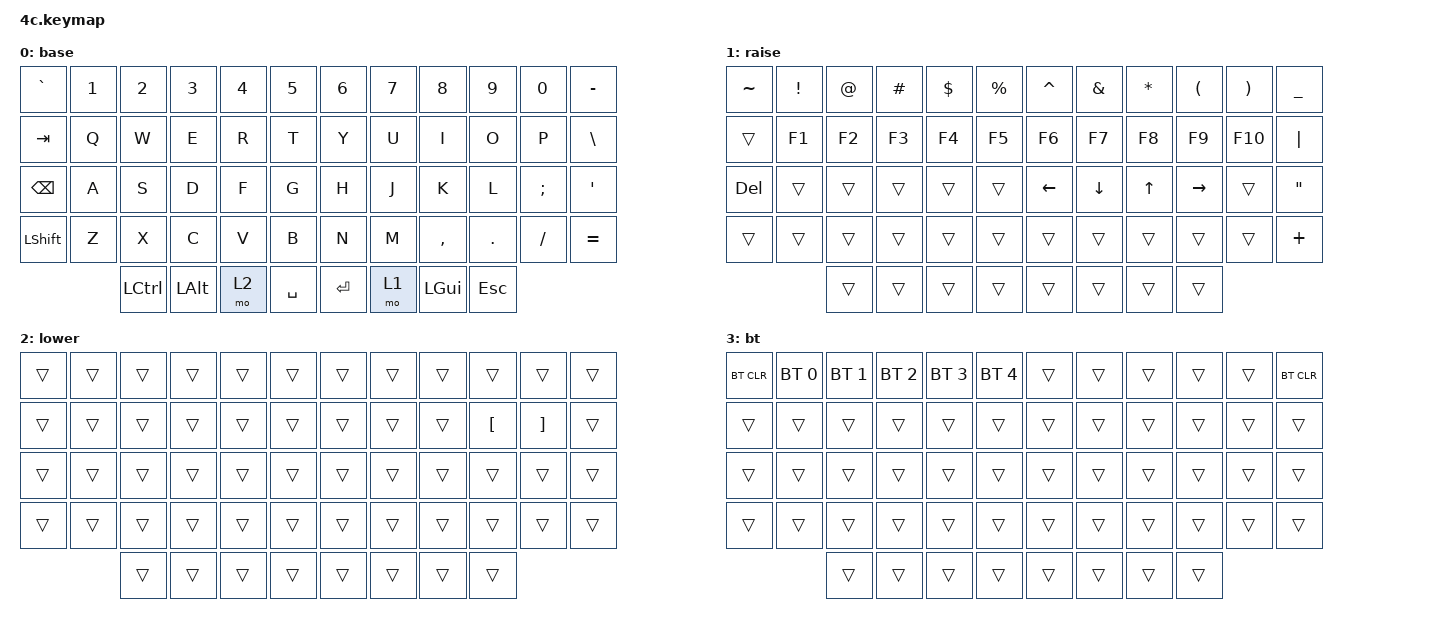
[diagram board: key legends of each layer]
/*
 * Copyright (c) 2020 The ZMK Contributors
 *
 * SPDX-License-Identifier: MIT
 */

#include <behaviors.dtsi>
#include <dt-bindings/zmk/keys.h>
#include <dt-bindings/zmk/bt.h>

/ {
    combos {
        compatible = "zmk,combos";

        bluetooth {
            bindings = <&mo 3>;
            key-positions = <36 37>; // Changed to more accessible keys (space + enter)
        };

        bt_clear {
            bindings = <&bt BT_CLR>;
            key-positions = <0 11>; // Top left and top right keys for emergency BT clear
        };
    };

    macros {
        code_fence: code_fence {
            compatible = "zmk,behavior-macro";
            #binding-cells = <0>;
            bindings = <&kp GRAVE &kp GRAVE &kp GRAVE>;
        };

        alt_f4: alt_f4 {
            compatible = "zmk,behavior-macro";
            #binding-cells = <0>;
            bindings = <&kp LALT &kp F4>;
        };
    };

    keymap {
        compatible = "zmk,keymap";

        base {
            display-name = "base";
            bindings = <
    &kp GRAVE  &kp N1    &kp N2    &kp N3    &kp N4    &kp N5       &kp N6    &kp N7    &kp N8     &kp N9    &kp N0    &kp MINUS
    &kp TAB    &kp Q     &kp W     &kp E     &kp R     &kp T        &kp Y     &kp U     &kp I      &kp O     &kp P     &kp BSLH
    &kp BSPC   &kp A     &kp S     &kp D     &kp F     &kp G        &kp H     &kp J     &kp K      &kp L     &kp SEMI  &kp SQT
    &kp LSHFT  &kp Z     &kp X     &kp C     &kp V     &kp B        &kp N     &kp M     &kp COMMA  &kp DOT   &kp FSLH  &kp EQUAL
                         &kp LCTRL &kp LALT  &mo 2     &kp SPACE    &kp RET   &mo 1     &kp LGUI   &kp ESC
            >;
        };

        raise {
            display-name = "raise";
            bindings = <
    &kp TILDE  &kp EXCL  &kp AT    &kp HASH  &kp DLLR  &kp PRCNT    &kp CARET &kp AMPS  &kp ASTRK  &kp LPAR  &kp RPAR  &kp UNDER
    &trans     &kp F1    &kp F2    &kp F3    &kp F4    &kp F5       &kp F6    &kp F7    &kp F8     &kp F9    &kp F10   &kp PIPE
    &kp DEL    &trans    &trans    &trans    &trans    &trans       &kp LEFT  &kp DOWN  &kp UP     &kp RIGHT &trans    &kp DQT
    &trans     &trans    &trans    &trans    &trans    &trans       &trans    &trans    &trans     &trans    &trans    &kp PLUS
                         &trans    &trans    &trans    &trans       &trans    &trans    &trans     &trans
            >;
        };

        lower {
            display-name = "lower";
            bindings = <
    &trans     &trans    &trans    &trans    &trans    &trans       &trans    &trans    &trans     &trans    &trans    &trans
    &trans     &trans    &trans    &trans    &trans    &trans       &trans    &trans    &trans     &kp LBKT  &kp RBKT  &trans
    &trans     &trans    &trans    &trans    &trans    &trans       &trans    &trans    &trans     &trans    &trans    &trans
    &trans     &trans    &trans    &trans    &trans    &trans       &trans    &trans    &trans     &trans    &trans    &trans
                         &trans    &trans    &trans    &trans       &trans    &trans    &trans     &trans
            >;
        };

        bluetooth {
            display-name = "bt";
            bindings = <
    &bt BT_CLR &bt BT_SEL 0 &bt BT_SEL 1 &bt BT_SEL 2 &bt BT_SEL 3 &bt BT_SEL 4    &trans &trans &trans &trans &trans &bt BT_CLR
    &trans     &trans       &trans       &trans       &trans       &trans          &trans &trans &trans &trans &trans &trans
    &trans     &trans       &trans       &trans       &trans       &trans          &trans &trans &trans &trans &trans &trans  
    &trans     &trans       &trans       &trans       &trans       &trans          &trans &trans &trans &trans &trans &trans
                            &trans       &trans       &trans       &trans          &trans &trans &trans &trans
            >;
        };
    };
};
